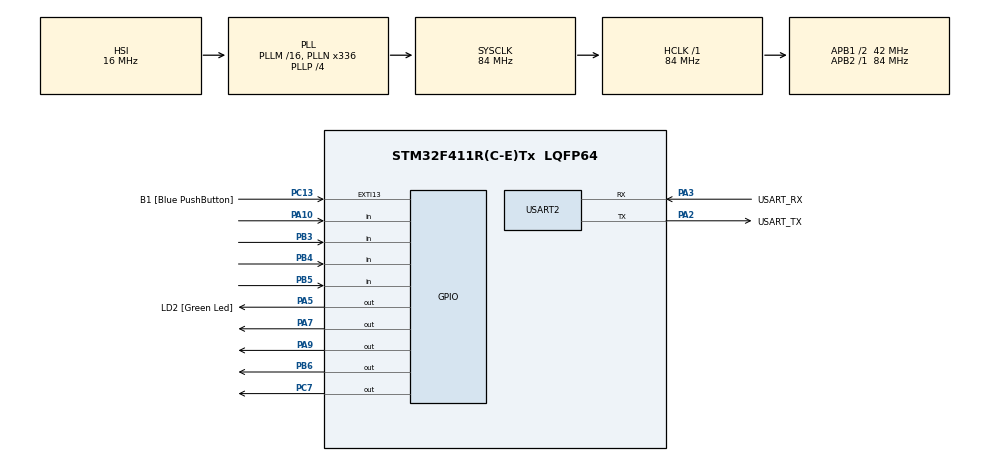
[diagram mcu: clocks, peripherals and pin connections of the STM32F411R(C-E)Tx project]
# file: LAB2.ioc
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Mcu.Family=STM32F4
Mcu.Name=STM32F411R(C-E)Tx
Mcu.Package=LQFP64
NVIC.PriorityGroup=NVIC_PRIORITYGROUP_0
PA10.GPIO_PuPd=GPIO_PULLUP
PA10.Signal=GPIO_Input
PA13.GPIO_Label=TMS
PA13.Mode=Serial_Wire
PA13.Signal=SYS_JTMS-SWDIO
PA14.GPIO_Label=TCK
PA14.Mode=Serial_Wire
PA14.Signal=SYS_JTCK-SWCLK
PA2.GPIO_Label=USART_TX
PA2.Mode=Asynchronous
PA2.Signal=USART2_TX
PA3.GPIO_Label=USART_RX
PA3.Mode=Asynchronous
PA3.Signal=USART2_RX
PA5.GPIO_Label=LD2 [Green Led]
PA5.GPIO_ModeDefaultOutputPP=GPIO_MODE_OUTPUT_PP
PA5.Signal=GPIO_Output
PA7.GPIO_ModeDefaultOutputPP=GPIO_MODE_OUTPUT_OD
PA7.PinState=GPIO_PIN_SET
PA7.Signal=GPIO_Output
PA9.GPIO_ModeDefaultOutputPP=GPIO_MODE_OUTPUT_OD
PA9.PinState=GPIO_PIN_SET
PA9.Signal=GPIO_Output
PB3.GPIO_PuPd=GPIO_PULLUP
PB3.Signal=GPIO_Input
PB4.GPIO_PuPd=GPIO_PULLUP
PB4.Signal=GPIO_Input
PB5.GPIO_PuPd=GPIO_PULLUP
PB5.Signal=GPIO_Input
PB6.GPIO_ModeDefaultOutputPP=GPIO_MODE_OUTPUT_OD
PB6.PinState=GPIO_PIN_SET
PB6.Signal=GPIO_Output
PC13-ANTI_TAMP.GPIO_Label=B1 [Blue PushButton]
PC13-ANTI_TAMP.GPIO_ModeDefaultEXTI=GPIO_MODE_IT_FALLING
PC13-ANTI_TAMP.Signal=GPXTI13
PC14-OSC32_IN.Mode=LSE-External-Oscillator
PC14-OSC32_IN.Signal=RCC_OSC32_IN
PC15-OSC32_OUT.Mode=LSE-External-Oscillator
PC15-OSC32_OUT.Signal=RCC_OSC32_OUT
PC7.GPIO_ModeDefaultOutputPP=GPIO_MODE_OUTPUT_OD
PC7.PinState=GPIO_PIN_SET
PC7.Signal=GPIO_Output
PH0\ -\ OSC_IN.Mode=HSE-External-Clock-Source
PH0\ -\ OSC_IN.Signal=RCC_OSC_IN
PH1\ -\ OSC_OUT.Mode=HSE-External-Clock-Source
PH1\ -\ OSC_OUT.Signal=RCC_OSC_OUT
ProjectManager.HeapSize=0x200
ProjectManager.StackSize=0x400
ProjectManager.TargetToolchain=STM32CubeIDE
RCC.48MHZClocksFreq_Value=84000000
RCC.AHBFreq_Value=84000000
RCC.APB1CLKDivider=RCC_HCLK_DIV2
RCC.APB1Freq_Value=42000000
RCC.APB1TimFreq_Value=84000000
RCC.APB2Freq_Value=84000000
RCC.APB2TimFreq_Value=84000000
RCC.CortexFreq_Value=84000000
RCC.FLatency-AdvancedSettings=FLASH_LATENCY_2
RCC.HCLKFreq_Value=84000000
RCC.HSE_VALUE=8000000
RCC.HSI_VALUE=16000000
RCC.PLLN=336
RCC.PLLP=RCC_PLLP_DIV4
RCC.SYSCLKFreq_VALUE=84000000
RCC.SYSCLKSource=RCC_SYSCLKSOURCE_PLLCLK
RCC.VCOOutputFreq_Value=336000000
USART2.VirtualMode=VM_ASYNC
board=NUCLEO-F411RE

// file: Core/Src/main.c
/* USER CODE BEGIN Header */
/**
  ******************************************************************************
  * @file           : main.c
  * @brief          : Main program body
  ******************************************************************************
  * @attention
  *
  * <h2><center>&copy; Copyright (c) 2021 STMicroelectronics.
  * All rights reserved.</center></h2>
  *
  * This software component is licensed by ST under BSD 3-Clause license,
  * the "License"; You may not use this file except in compliance with the
  * License. You may obtain a copy of the License at:
  *                        opensource.org/licenses/BSD-3-Clause
  *
  ******************************************************************************
  */
/* USER CODE END Header */
#include "main.h"

UART_HandleTypeDef huart2;

/* USER CODE BEGIN PV */
//save status of Button Matrix
uint16_t ButtonMatrixState = 0;
uint16_t PastButtonMatrixState = 0;

//Button TimeStamp
uint32_t ButtonMatrixTimestamp = 0;
/* USER CODE END PV */

void SystemClock_Config(void);
static void MX_GPIO_Init(void);
static void MX_USART2_UART_Init(void);
/* USER CODE BEGIN PFP */
//scan and update data of Button Matrix
void ButtonMatrixUpdate();

uint16_t Password[11]; //save button one by one
int numberButton = 0;
/* USER CODE END PFP */

int main(void)
{

  /* MCU Configuration--------------------------------------------------------*/

  /* Reset of all peripherals, Initializes the Flash interface and the Systick. */
  HAL_Init();

  /* Configure the system clock */
  SystemClock_Config();

  /* Initialize all configured peripherals */
  MX_GPIO_Init();
  MX_USART2_UART_Init();

  /* Infinite loop */
  while (1)
  {

    /* USER CODE BEGIN 3 */
	ButtonMatrixUpdate();
  }
  /* USER CODE END 3 */
}

void SystemClock_Config(void)
{
  RCC_OscInitTypeDef RCC_OscInitStruct = {0};
  RCC_ClkInitTypeDef RCC_ClkInitStruct = {0};

  /** Configure the main internal regulator output voltage
  */
  __HAL_RCC_PWR_CLK_ENABLE();
  __HAL_PWR_VOLTAGESCALING_CONFIG(PWR_REGULATOR_VOLTAGE_SCALE1);
  /** Initializes the RCC Oscillators according to the specified parameters
  * in the RCC_OscInitTypeDef structure.
  */
  RCC_OscInitStruct.OscillatorType = RCC_OSCILLATORTYPE_HSI;
  RCC_OscInitStruct.HSIState = RCC_HSI_ON;
  RCC_OscInitStruct.HSICalibrationValue = RCC_HSICALIBRATION_DEFAULT;
  RCC_OscInitStruct.PLL.PLLState = RCC_PLL_ON;
  RCC_OscInitStruct.PLL.PLLSource = RCC_PLLSOURCE_HSI;
  RCC_OscInitStruct.PLL.PLLM = 16;
  RCC_OscInitStruct.PLL.PLLN = 336;
  RCC_OscInitStruct.PLL.PLLP = RCC_PLLP_DIV4;
  RCC_OscInitStruct.PLL.PLLQ = 4;
  if (HAL_RCC_OscConfig(&RCC_OscInitStruct) != HAL_OK)
  {
    Error_Handler();
  }
  /** Initializes the CPU, AHB and APB buses clocks
  */
  RCC_ClkInitStruct.ClockType = RCC_CLOCKTYPE_HCLK|RCC_CLOCKTYPE_SYSCLK
                              |RCC_CLOCKTYPE_PCLK1|RCC_CLOCKTYPE_PCLK2;
  RCC_ClkInitStruct.SYSCLKSource = RCC_SYSCLKSOURCE_PLLCLK;
  RCC_ClkInitStruct.AHBCLKDivider = RCC_SYSCLK_DIV1;
  RCC_ClkInitStruct.APB1CLKDivider = RCC_HCLK_DIV2;
  RCC_ClkInitStruct.APB2CLKDivider = RCC_HCLK_DIV1;

  if (HAL_RCC_ClockConfig(&RCC_ClkInitStruct, FLASH_LATENCY_2) != HAL_OK)
  {
    Error_Handler();
  }
}

static void MX_USART2_UART_Init(void)
{

  huart2.Instance = USART2;
  huart2.Init.BaudRate = 115200;
  huart2.Init.WordLength = UART_WORDLENGTH_8B;
  huart2.Init.StopBits = UART_STOPBITS_1;
  huart2.Init.Parity = UART_PARITY_NONE;
  huart2.Init.Mode = UART_MODE_TX_RX;
  huart2.Init.HwFlowCtl = UART_HWCONTROL_NONE;
  huart2.Init.OverSampling = UART_OVERSAMPLING_16;
  if (HAL_UART_Init(&huart2) != HAL_OK)
  {
    Error_Handler();
  }

}

static void MX_GPIO_Init(void)
{
  GPIO_InitTypeDef GPIO_InitStruct = {0};

  /* GPIO Ports Clock Enable */
  __HAL_RCC_GPIOC_CLK_ENABLE();
  __HAL_RCC_GPIOH_CLK_ENABLE();
  __HAL_RCC_GPIOA_CLK_ENABLE();
  __HAL_RCC_GPIOB_CLK_ENABLE();

  /*Configure GPIO pin Output Level */
  HAL_GPIO_WritePin(LD2_GPIO_Port, LD2_Pin, GPIO_PIN_RESET);

  /*Configure GPIO pin Output Level */
  HAL_GPIO_WritePin(GPIOA, GPIO_PIN_7|GPIO_PIN_9, GPIO_PIN_SET);

  /*Configure GPIO pin Output Level */
  HAL_GPIO_WritePin(GPIOC, GPIO_PIN_7, GPIO_PIN_SET);

  /*Configure GPIO pin Output Level */
  HAL_GPIO_WritePin(GPIOB, GPIO_PIN_6, GPIO_PIN_SET);

  /*Configure GPIO pin : B1_Pin */
  GPIO_InitStruct.Pin = B1_Pin;
  GPIO_InitStruct.Mode = GPIO_MODE_IT_FALLING;
  GPIO_InitStruct.Pull = GPIO_NOPULL;
  HAL_GPIO_Init(B1_GPIO_Port, &GPIO_InitStruct);

  /*Configure GPIO pin : LD2_Pin */
  GPIO_InitStruct.Pin = LD2_Pin;
  GPIO_InitStruct.Mode = GPIO_MODE_OUTPUT_PP;
  GPIO_InitStruct.Pull = GPIO_NOPULL;
  GPIO_InitStruct.Speed = GPIO_SPEED_FREQ_LOW;
  HAL_GPIO_Init(LD2_GPIO_Port, &GPIO_InitStruct);

  /*Configure GPIO pins : PA7 PA9 */
  GPIO_InitStruct.Pin = GPIO_PIN_7|GPIO_PIN_9;
  GPIO_InitStruct.Mode = GPIO_MODE_OUTPUT_OD;
  GPIO_InitStruct.Pull = GPIO_NOPULL;
  GPIO_InitStruct.Speed = GPIO_SPEED_FREQ_LOW;
  HAL_GPIO_Init(GPIOA, &GPIO_InitStruct);

  /*Configure GPIO pin : PC7 */
  GPIO_InitStruct.Pin = GPIO_PIN_7;
  GPIO_InitStruct.Mode = GPIO_MODE_OUTPUT_OD;
  GPIO_InitStruct.Pull = GPIO_NOPULL;
  GPIO_InitStruct.Speed = GPIO_SPEED_FREQ_LOW;
  HAL_GPIO_Init(GPIOC, &GPIO_InitStruct);

  /*Configure GPIO pin : PA10 */
  GPIO_InitStruct.Pin = GPIO_PIN_10;
  GPIO_InitStruct.Mode = GPIO_MODE_INPUT;
  GPIO_InitStruct.Pull = GPIO_PULLUP;
  HAL_GPIO_Init(GPIOA, &GPIO_InitStruct);

  /*Configure GPIO pins : PB3 PB4 PB5 */
  GPIO_InitStruct.Pin = GPIO_PIN_3|GPIO_PIN_4|GPIO_PIN_5;
  GPIO_InitStruct.Mode = GPIO_MODE_INPUT;
  GPIO_InitStruct.Pull = GPIO_PULLUP;
  HAL_GPIO_Init(GPIOB, &GPIO_InitStruct);

  /*Configure GPIO pin : PB6 */
  GPIO_InitStruct.Pin = GPIO_PIN_6;
  GPIO_InitStruct.Mode = GPIO_MODE_OUTPUT_OD;
  GPIO_InitStruct.Pull = GPIO_NOPULL;
  GPIO_InitStruct.Speed = GPIO_SPEED_FREQ_LOW;
  HAL_GPIO_Init(GPIOB, &GPIO_InitStruct);

}

/* USER CODE BEGIN 4 */
GPIO_TypeDef* ButtonMatrixPort[8] = {GPIOA,GPIOB,GPIOB,GPIOB,GPIOA,GPIOC,GPIOB,GPIOA};
uint16_t ButtonMatrixPin[8] = {GPIO_PIN_10,GPIO_PIN_3,GPIO_PIN_5,GPIO_PIN_4,GPIO_PIN_9,GPIO_PIN_7,GPIO_PIN_6,GPIO_PIN_7};
uint8_t ButtonMatrixLine = 0;

void ButtonMatrixUpdate()
{
	if(HAL_GetTick() - ButtonMatrixTimestamp >= 100)
	{
		ButtonMatrixTimestamp = HAL_GetTick();
		int i;
		for(i = 0;i<4;++i)
		{	//0-3
			GPIO_PinState PinState = HAL_GPIO_ReadPin(ButtonMatrixPort[i], ButtonMatrixPin[i]);
			if(PinState == GPIO_PIN_RESET)
			{
				ButtonMatrixState |= (uint16_t)1 << (i + ButtonMatrixLine * 4);	//0b0 | 0b1000
			}
			else
			{
				ButtonMatrixState &= ~((uint16_t)1 <<(i + ButtonMatrixLine * 4)); //0b0 & ~(0b1000)
			}
		}
		uint8_t NowOutputPin = ButtonMatrixLine + 4;
		//set Rn
		HAL_GPIO_WritePin(ButtonMatrixPort[NowOutputPin],ButtonMatrixPin[NowOutputPin], GPIO_PIN_SET);
		//update new row
		ButtonMatrixLine = (ButtonMatrixLine + 1) %4;
		uint8_t NextOutputPin = ButtonMatrixLine + 4;
		HAL_GPIO_WritePin(ButtonMatrixPort[NextOutputPin],ButtonMatrixPin[NextOutputPin], GPIO_PIN_RESET);
		if(PastButtonMatrixState == 0 && ButtonMatrixState != 0 && numberButton <= 10)
		{
			if(ButtonMatrixState != 0b1000 && ButtonMatrixState != 0b10000000 && ButtonMatrixState != 0b100000000000 && ButtonMatrixState != 0b10000000000000 && ButtonMatrixState != 0b100000000000000 && ButtonMatrixState != 0b1000000000000000)
			{
				Password[numberButton] = ButtonMatrixState;
				numberButton += 1;
			}
		}
		else if(ButtonMatrixState == 0b1000)
		{
			int j;
			for(j = 0; j<11;++j)
			{
				Password[j] = 0;
			}
			numberButton = 0;
			HAL_GPIO_WritePin(GPIOA, GPIO_PIN_5, GPIO_PIN_RESET);
		}
		else if(ButtonMatrixState == 0b1000000000000000)
		{
			if(Password[0] == 64 && Password[1] == 512 && Password[2] == 1024 && Password[3] == 16 && Password[4] == 4096 && Password[5] == 32 && Password[6] == 4096 && Password[7] == 4096 && Password[8] == 4096 && Password[9] == 32 && Password[10] == 4)
			{
				HAL_GPIO_WritePin(GPIOA, GPIO_PIN_5, GPIO_PIN_SET);
			}
			else
			{
				HAL_GPIO_WritePin(GPIOA, GPIO_PIN_5, GPIO_PIN_RESET);
			}
		}
		PastButtonMatrixState = ButtonMatrixState;
	}
}
/* USER CODE END 4 */

void Error_Handler(void)
{
  __disable_irq();
  while (1)
  {
  }
}

/************************ (C) COPYRIGHT STMicroelectronics *****END OF FILE****/
